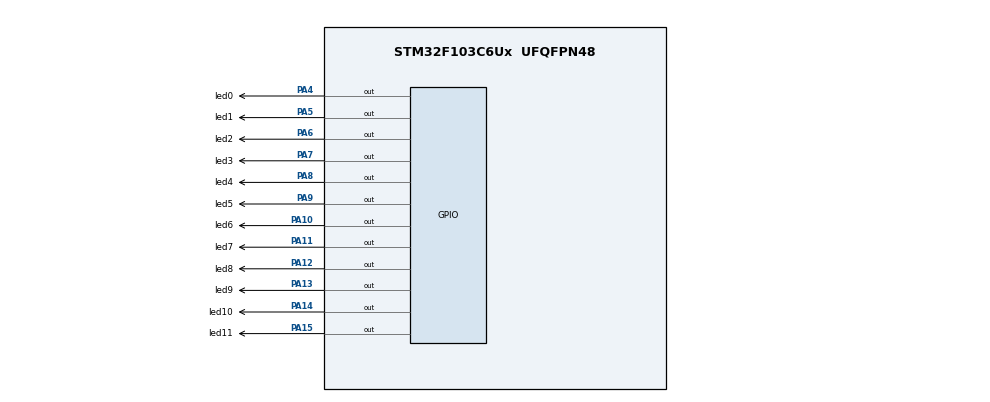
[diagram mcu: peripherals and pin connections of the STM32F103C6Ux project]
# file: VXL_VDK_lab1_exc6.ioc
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Mcu.Family=STM32F1
Mcu.Name=STM32F103C6Ux
Mcu.Package=UFQFPN48
NVIC.PriorityGroup=NVIC_PRIORITYGROUP_4
PA10.GPIO_Label=led6
PA10.Signal=GPIO_Output
PA11.GPIO_Label=led7
PA11.Signal=GPIO_Output
PA12.GPIO_Label=led8
PA12.Signal=GPIO_Output
PA13.GPIO_Label=led9
PA13.Signal=GPIO_Output
PA14.GPIO_Label=led10
PA14.Signal=GPIO_Output
PA15.GPIO_Label=led11
PA15.Signal=GPIO_Output
PA4.GPIO_Label=led0
PA4.Signal=GPIO_Output
PA5.GPIO_Label=led1
PA5.Signal=GPIO_Output
PA6.GPIO_Label=led2
PA6.Signal=GPIO_Output
PA7.GPIO_Label=led3
PA7.Signal=GPIO_Output
PA8.GPIO_Label=led4
PA8.Signal=GPIO_Output
PA9.GPIO_Label=led5
PA9.Signal=GPIO_Output
ProjectManager.HeapSize=0x200
ProjectManager.StackSize=0x400
ProjectManager.TargetToolchain=STM32CubeIDE
RCC.APB1Freq_Value=8000000
RCC.APB2Freq_Value=8000000
board=custom

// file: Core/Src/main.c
/* USER CODE BEGIN Header */
/**
  ******************************************************************************
  * @file           : main.c
  * @brief          : Main program body
  ******************************************************************************
  * @attention
  *
  * Copyright (c) 2025 STMicroelectronics.
  * All rights reserved.
  *
  * This software is licensed under terms that can be found in the LICENSE file
  * in the root directory of this software component.
  * If no LICENSE file comes with this software, it is provided AS-IS.
  *
  ******************************************************************************
  */
/* USER CODE END Header */
#include "main.h"

/* USER CODE BEGIN PV */
GPIO_TypeDef* LED_PORT = GPIOA;

uint16_t LED_PINS[12] = {
    led0_Pin,
    led1_Pin,
    led2_Pin,
    led3_Pin,
    led4_Pin,
    led5_Pin,
    led6_Pin,
    led7_Pin,
    led8_Pin,
    led9_Pin,
    led10_Pin,
    led11_Pin
};
/* USER CODE END PV */

void SystemClock_Config(void);
static void MX_GPIO_Init(void);
/* USER CODE BEGIN PFP */
void clearAllClock();
void setNumberOnClock(int num);
void clearNumberOnClock(int num);
/* USER CODE END PFP */

/* USER CODE BEGIN 0 */
void clearAllClock(){
	HAL_GPIO_WritePin(led0_GPIO_Port, led0_Pin, SET);
	HAL_GPIO_WritePin(led1_GPIO_Port, led1_Pin, SET);
	HAL_GPIO_WritePin(led2_GPIO_Port, led2_Pin, SET);
	HAL_GPIO_WritePin(led3_GPIO_Port, led3_Pin, SET);
	HAL_GPIO_WritePin(led4_GPIO_Port, led4_Pin, SET);
	HAL_GPIO_WritePin(led5_GPIO_Port, led5_Pin, SET);
	HAL_GPIO_WritePin(led6_GPIO_Port, led6_Pin, SET);
	HAL_GPIO_WritePin(led7_GPIO_Port, led7_Pin, SET);
	HAL_GPIO_WritePin(led8_GPIO_Port, led8_Pin, SET);
	HAL_GPIO_WritePin(led9_GPIO_Port, led9_Pin, SET);
	HAL_GPIO_WritePin(led10_GPIO_Port, led10_Pin, SET);
	HAL_GPIO_WritePin(led11_GPIO_Port, led11_Pin, SET);

 }
void setNumberOnClock(int num) {
    if (num >= 0 && num < 12) {
        HAL_GPIO_WritePin(GPIOA, LED_PINS[num], RESET);
    }
}
void clearNumberOnClock(int num) {
    if (num >= 0 && num < 12) {
        HAL_GPIO_WritePin(GPIOA, LED_PINS[num], SET);
    }
}

/* USER CODE END 0 */

int main(void)
{

  /* MCU Configuration--------------------------------------------------------*/

  /* Reset of all peripherals, Initializes the Flash interface and the Systick. */
  HAL_Init();

  /* Configure the system clock */
  SystemClock_Config();

  /* Initialize all configured peripherals */
  MX_GPIO_Init();
  /* USER CODE BEGIN 2 */
  int num_1 = 0;
  int num_2 = 3;
  clearAllClock();
  /* USER CODE END 2 */

  /* Infinite loop */
  while (1)
  {
	  setNumberOnClock(num_2);
	  clearNumberOnClock(num_1);
	  ++num_2;
	  ++num_1;
	  if(num_1>11)num_1 = 0;
	  if(num_2>11)num_2 = 0;
	  HAL_Delay(1000);
  }
}

void SystemClock_Config(void)
{
  RCC_OscInitTypeDef RCC_OscInitStruct = {0};
  RCC_ClkInitTypeDef RCC_ClkInitStruct = {0};

  /** Initializes the RCC Oscillators according to the specified parameters
  * in the RCC_OscInitTypeDef structure.
  */
  RCC_OscInitStruct.OscillatorType = RCC_OSCILLATORTYPE_HSI;
  RCC_OscInitStruct.HSIState = RCC_HSI_ON;
  RCC_OscInitStruct.HSICalibrationValue = RCC_HSICALIBRATION_DEFAULT;
  RCC_OscInitStruct.PLL.PLLState = RCC_PLL_NONE;
  if (HAL_RCC_OscConfig(&RCC_OscInitStruct) != HAL_OK)
  {
    Error_Handler();
  }

  /** Initializes the CPU, AHB and APB buses clocks
  */
  RCC_ClkInitStruct.ClockType = RCC_CLOCKTYPE_HCLK|RCC_CLOCKTYPE_SYSCLK
                              |RCC_CLOCKTYPE_PCLK1|RCC_CLOCKTYPE_PCLK2;
  RCC_ClkInitStruct.SYSCLKSource = RCC_SYSCLKSOURCE_HSI;
  RCC_ClkInitStruct.AHBCLKDivider = RCC_SYSCLK_DIV1;
  RCC_ClkInitStruct.APB1CLKDivider = RCC_HCLK_DIV1;
  RCC_ClkInitStruct.APB2CLKDivider = RCC_HCLK_DIV1;

  if (HAL_RCC_ClockConfig(&RCC_ClkInitStruct, FLASH_LATENCY_0) != HAL_OK)
  {
    Error_Handler();
  }
}

static void MX_GPIO_Init(void)
{
  GPIO_InitTypeDef GPIO_InitStruct = {0};

  /* GPIO Ports Clock Enable */
  __HAL_RCC_GPIOA_CLK_ENABLE();

  /*Configure GPIO pin Output Level */
  HAL_GPIO_WritePin(GPIOA, led0_Pin|led1_Pin|led2_Pin|led3_Pin
                          |led4_Pin|led5_Pin|led6_Pin|led7_Pin
                          |led8_Pin|led9_Pin|led10_Pin|led11_Pin, GPIO_PIN_RESET);

  /*Configure GPIO pins : led0_Pin led1_Pin led2_Pin led3_Pin
                           led4_Pin led5_Pin led6_Pin led7_Pin
                           led8_Pin led9_Pin led10_Pin led11_Pin */
  GPIO_InitStruct.Pin = led0_Pin|led1_Pin|led2_Pin|led3_Pin
                          |led4_Pin|led5_Pin|led6_Pin|led7_Pin
                          |led8_Pin|led9_Pin|led10_Pin|led11_Pin;
  GPIO_InitStruct.Mode = GPIO_MODE_OUTPUT_PP;
  GPIO_InitStruct.Pull = GPIO_NOPULL;
  GPIO_InitStruct.Speed = GPIO_SPEED_FREQ_LOW;
  HAL_GPIO_Init(GPIOA, &GPIO_InitStruct);

}

void Error_Handler(void)
{
  __disable_irq();
  while (1)
  {
  }
}
